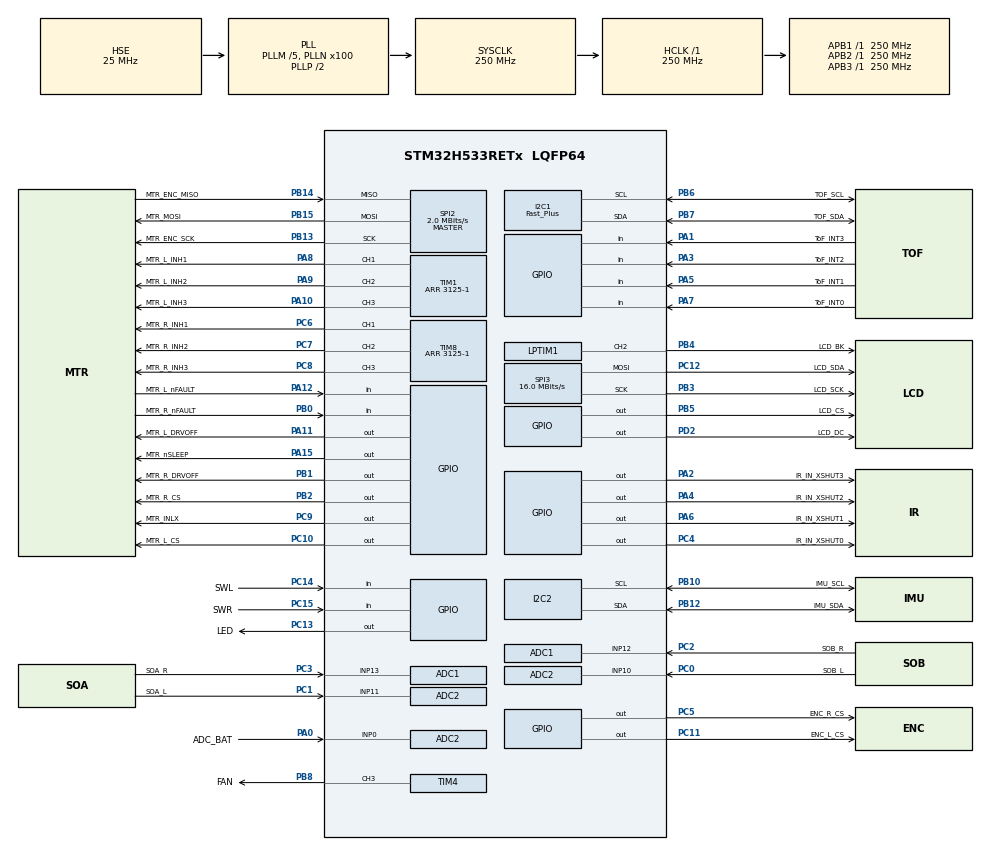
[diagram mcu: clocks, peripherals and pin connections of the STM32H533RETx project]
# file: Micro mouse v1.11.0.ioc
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ADC1.Channel-3\#ChannelRegularConversion=ADC_CHANNEL_0
ADC1.Channel-4\#ChannelRegularConversion=ADC_CHANNEL_13
ADC1.Channel-5\#ChannelRegularConversion=ADC_CHANNEL_12
ADC1.ClockPrescaler=ADC_CLOCK_ASYNC_DIV4
ADC1.DMAContinuousRequests=ENABLE
ADC1.EOCSelection=ADC_EOC_SEQ_CONV
ADC1.ExternalTrigConv=ADC_EXTERNALTRIG_T1_TRGO2
ADC1.MonitoredBy-3\#ChannelRegularConversion=__NULL
ADC1.MonitoredBy-4\#ChannelRegularConversion=__NULL
ADC1.MonitoredBy-5\#ChannelRegularConversion=__NULL
ADC1.NbrOfConversion=3
ADC1.NbrOfConversionFlag=1
ADC1.OffsetNumber-3\#ChannelRegularConversion=ADC_OFFSET_NONE
ADC1.OffsetNumber-4\#ChannelRegularConversion=ADC_OFFSET_NONE
ADC1.OffsetNumber-5\#ChannelRegularConversion=ADC_OFFSET_NONE
ADC1.Rank-3\#ChannelRegularConversion=1
ADC1.Rank-4\#ChannelRegularConversion=2
ADC1.Rank-5\#ChannelRegularConversion=3
ADC1.SamplingTime-3\#ChannelRegularConversion=ADC_SAMPLETIME_12CYCLES_5
ADC1.SamplingTime-4\#ChannelRegularConversion=ADC_SAMPLETIME_6CYCLES_5
ADC1.SamplingTime-5\#ChannelRegularConversion=ADC_SAMPLETIME_6CYCLES_5
ADC1.master=1
ADC2.Channel-0\#ChannelRegularConversion=ADC_CHANNEL_0
ADC2.Channel-1\#ChannelRegularConversion=ADC_CHANNEL_11
ADC2.Channel-2\#ChannelRegularConversion=ADC_CHANNEL_10
ADC2.ClockPrescaler=ADC_CLOCK_ASYNC_DIV4
ADC2.DMAContinuousRequests=ENABLE
ADC2.EOCSelection=ADC_EOC_SEQ_CONV
ADC2.MonitoredBy-0\#ChannelRegularConversion=__NULL
ADC2.MonitoredBy-1\#ChannelRegularConversion=__NULL
ADC2.MonitoredBy-2\#ChannelRegularConversion=__NULL
ADC2.NbrOfConversion=3
ADC2.NbrOfConversionFlag=1
ADC2.OffsetNumber-0\#ChannelRegularConversion=ADC_OFFSET_NONE
ADC2.OffsetNumber-1\#ChannelRegularConversion=ADC_OFFSET_NONE
ADC2.OffsetNumber-2\#ChannelRegularConversion=ADC_OFFSET_NONE
ADC2.Rank-0\#ChannelRegularConversion=1
ADC2.Rank-1\#ChannelRegularConversion=2
ADC2.Rank-2\#ChannelRegularConversion=3
ADC2.SamplingTime-0\#ChannelRegularConversion=ADC_SAMPLETIME_12CYCLES_5
ADC2.SamplingTime-1\#ChannelRegularConversion=ADC_SAMPLETIME_6CYCLES_5
ADC2.SamplingTime-2\#ChannelRegularConversion=ADC_SAMPLETIME_6CYCLES_5
BOOTPATH.BootPathName=LEGACY
BOOTPATH.UserSelectedBootPath=LEGACY
CORTEX_M33_NS.userName=CORTEX_M33
GPDMA1.CIRCULARMODE_GPDMACH0=ENABLE
GPDMA1.CIRCULARMODE_GPDMACH1=ENABLE
GPDMA1.DESTDATAWIDTH_GPDMACH0=DMA_DEST_DATAWIDTH_HALFWORD
GPDMA1.DESTDATAWIDTH_GPDMACH1=DMA_DEST_DATAWIDTH_HALFWORD
GPDMA1.DESTINC_GPDMACH0=DMA_DINC_INCREMENTED
GPDMA1.DESTINC_GPDMACH1=DMA_DINC_INCREMENTED
GPDMA1.IPHANDLE_GPDMACH0-SIMPLEREQUEST_GPDMACH0=__NULL
GPDMA1.IPHANDLE_GPDMACH1-SIMPLEREQUEST_GPDMACH1=__NULL
GPDMA1.REQUEST_GPDMACH0=GPDMA1_REQUEST_ADC1
GPDMA1.REQUEST_GPDMACH1=GPDMA1_REQUEST_ADC2
GPDMA1.SRCDATAWIDTH_GPDMACH0=DMA_SRC_DATAWIDTH_HALFWORD
GPDMA1.SRCDATAWIDTH_GPDMACH1=DMA_SRC_DATAWIDTH_HALFWORD
GPDMA1.TRANSFERALLOCATEDPORTDEST_GPDMACH1=DMA_DEST_ALLOCATED_PORT1
GPDMA1.TRANSFERALLOCATEDPORTSRC_GPDMACH1=DMA_SRC_ALLOCATED_PORT1
GPDMA2.DIRECTION_GPDMACH0=DMA_MEMORY_TO_PERIPH
GPDMA2.IPHANDLE_GPDMACH0-SIMPLEREQUEST_GPDMACH0=__NULL
GPDMA2.REQUEST_GPDMACH0=GPDMA2_REQUEST_SPI3_TX
GPDMA2.SRCINC_GPDMACH0=DMA_SINC_INCREMENTED
I2C1.I2C_Speed_Mode=I2C_Fast_Plus
I2C1.Timing=0x00C035A6
I2C2.Timing=0x60808CD3
LPTIM1.ClockPrescaler=LPTIM_PRESCALER_DIV32
LPTIM1.OCPolarity_2=LPTIM_OCPOLARITY_LOW
LPTIM1.Period=1000-1
Mcu.Family=STM32H5
Mcu.Name=STM32H533RETx
Mcu.Package=LQFP64
NVIC.ADC1_IRQn=true\:0\:0\:false\:false\:true\:true\:true\:true
NVIC.ADC2_IRQn=true\:0\:0\:false\:false\:true\:true\:true\:true
NVIC.GPDMA1_Channel0_IRQn=true\:0\:0\:false\:false\:true\:false\:true\:true
NVIC.GPDMA1_Channel1_IRQn=true\:5\:0\:true\:false\:true\:false\:true\:true
NVIC.GPDMA2_Channel0_IRQn=true\:0\:0\:false\:false\:true\:false\:true\:true
NVIC.LPTIM1_IRQn=true\:0\:0\:false\:false\:true\:true\:true\:true
NVIC.PriorityGroup=NVIC_PRIORITYGROUP_4
NVIC.SPI3_IRQn=true\:5\:0\:true\:false\:true\:true\:true\:true
NVIC.TIM12_IRQn=true\:0\:0\:false\:false\:true\:true\:true\:true
NVIC.TIM3_IRQn=true\:0\:0\:false\:false\:true\:true\:true\:true
NVIC.TIM4_IRQn=true\:0\:0\:false\:false\:true\:true\:true\:true
NVIC.TIM5_IRQn=true\:0\:0\:false\:false\:true\:true\:true\:true
NVIC.TIM6_IRQn=true\:0\:0\:false\:false\:true\:true\:true\:true
NVIC.TIM7_IRQn=true\:0\:0\:false\:false\:true\:true\:true\:true
PA0.GPIO_Label=ADC_BAT
PA0.Signal=ADCx_INP0
PA1.GPIO_Label=ToF_INT3
PA1.Signal=GPIO_Input
PA10.GPIO_Label=MTR_L_INH3
PA10.Signal=S_TIM1_CH3
PA11.GPIO_Label=MTR_L_DRVOFF
PA11.Signal=GPIO_Output
PA12.GPIO_Label=MTR_L_nFAULT
PA12.Signal=GPIO_Input
PA13(JTMS/SWDIO).Mode=Serial_Wire
PA13(JTMS/SWDIO).Signal=DEBUG_JTMS-SWDIO
PA14(JTCK/SWCLK).Mode=Serial_Wire
PA14(JTCK/SWCLK).Signal=DEBUG_JTCK-SWCLK
PA15(JTDI).GPIO_Label=MTR_nSLEEP
PA15(JTDI).Signal=GPIO_Output
PA2.GPIO_Label=IR_IN_XSHUT3
PA2.GPIO_PuPd=GPIO_PULLUP
PA2.Signal=GPIO_Output
PA3.GPIO_Label=ToF_INT2
PA3.Signal=GPIO_Input
PA4.GPIO_Label=IR_IN_XSHUT2
PA4.GPIO_PuPd=GPIO_PULLUP
PA4.Signal=GPIO_Output
PA5.GPIO_Label=ToF_INT1
PA5.Signal=GPIO_Input
PA6.GPIO_Label=IR_IN_XSHUT1
PA6.GPIO_PuPd=GPIO_PULLUP
PA6.Signal=GPIO_Output
PA7.GPIO_Label=ToF_INT0
PA7.Signal=GPIO_Input
PA8.GPIO_Label=MTR_L_INH1
PA8.Signal=S_TIM1_CH1
PA9.GPIO_Label=MTR_L_INH2
PA9.Signal=S_TIM1_CH2
PB0.GPIO_Label=MTR_R_nFAULT
PB0.Signal=GPIO_Input
PB1.GPIO_Label=MTR_R_DRVOFF
PB1.Signal=GPIO_Output
PB10.GPIO_Label=IMU_SCL
PB10.Mode=I2C
PB10.Signal=I2C2_SCL
PB12.GPIO_Label=IMU_SDA
PB12.Mode=I2C
PB12.Signal=I2C2_SDA
PB13.GPIO_Label=MTR_ENC_SCK
PB13.Mode=Full_Duplex_Master
PB13.Signal=SPI2_SCK
PB14.GPIO_Label=MTR_ENC_MISO
PB14.Mode=Full_Duplex_Master
PB14.Signal=SPI2_MISO
PB15.GPIO_Label=MTR_MOSI
PB15.Mode=Full_Duplex_Master
PB15.Signal=SPI2_MOSI
PB2.GPIO_Label=MTR_R_CS
PB2.GPIO_PuPd=GPIO_PULLUP
PB2.Signal=GPIO_Output
PB3(JTDO/TRACESWO).GPIO_Label=LCD_SCK
PB3(JTDO/TRACESWO).Mode=TX_Only_Simplex_Unidirect_Master
PB3(JTDO/TRACESWO).Signal=SPI3_SCK
PB4(NJTRST).GPIO_Label=LCD_BK
PB4(NJTRST).Signal=S_LPTIM1_CH2
PB5.GPIO_Label=LCD_CS
PB5.GPIO_PuPd=GPIO_PULLUP
PB5.Signal=GPIO_Output
PB6.GPIO_Label=TOF_SCL
PB6.Mode=I2C
PB6.Signal=I2C1_SCL
PB7.GPIO_Label=TOF_SDA
PB7.Mode=I2C
PB7.Signal=I2C1_SDA
PB8.GPIO_Label=FAN
PB8.Signal=S_TIM4_CH3
PC0.GPIO_Label=SOB_L
PC0.Signal=ADCx_INP10
PC1.GPIO_Label=SOA_L
PC1.Signal=ADCx_INP11
PC10.GPIO_Label=MTR_L_CS
PC10.GPIO_PuPd=GPIO_PULLUP
PC10.Signal=GPIO_Output
PC11.GPIO_Label=ENC_L_CS
PC11.GPIO_PuPd=GPIO_PULLUP
PC11.Signal=GPIO_Output
PC12.GPIO_Label=LCD_SDA
PC12.Mode=TX_Only_Simplex_Unidirect_Master
PC12.Signal=SPI3_MOSI
PC13.GPIO_Label=LED
PC13.Signal=GPIO_Output
PC14-OSC32_IN(OSC32_IN).GPIO_Label=SWL
PC14-OSC32_IN(OSC32_IN).GPIO_PuPd=GPIO_PULLUP
PC14-OSC32_IN(OSC32_IN).Signal=GPIO_Input
PC15-OSC32_OUT(OSC32_OUT).GPIO_Label=SWR
PC15-OSC32_OUT(OSC32_OUT).GPIO_PuPd=GPIO_PULLUP
PC15-OSC32_OUT(OSC32_OUT).Signal=GPIO_Input
PC2.GPIO_Label=SOB_R
PC2.Signal=ADCx_INP12
PC3.GPIO_Label=SOA_R
PC3.Signal=ADCx_INP13
PC4.GPIO_Label=IR_IN_XSHUT0
PC4.GPIO_PuPd=GPIO_PULLUP
PC4.Signal=GPIO_Output
PC5.GPIO_Label=ENC_R_CS
PC5.GPIO_PuPd=GPIO_PULLUP
PC5.Signal=GPIO_Output
PC6.GPIO_Label=MTR_R_INH1
PC6.Signal=S_TIM8_CH1
PC7.GPIO_Label=MTR_R_INH2
PC7.Signal=S_TIM8_CH2
PC8.GPIO_Label=MTR_R_INH3
PC8.Signal=S_TIM8_CH3
PC9.GPIO_Label=MTR_INLX
PC9.Signal=GPIO_Output
PD2.GPIO_Label=LCD_DC
PD2.GPIO_PuPd=GPIO_PULLUP
PD2.Signal=GPIO_Output
PH0-OSC_IN(PH0).Mode=HSE-External-Oscillator
PH0-OSC_IN(PH0).Signal=RCC_OSC_IN
PH1-OSC_OUT(PH1).Mode=HSE-External-Oscillator
PH1-OSC_OUT(PH1).Signal=RCC_OSC_OUT
ProjectManager.HeapSize=0x200
ProjectManager.StackSize=0x400
ProjectManager.TargetToolchain=STM32CubeIDE
RCC.ADCCLockSelection=RCC_ADCDACCLKSOURCE_PLL2R
RCC.ADCFreq_Value=64000000
RCC.AHBFreq_Value=250000000
RCC.APB1Freq_Value=250000000
RCC.APB1TimFreq_Value=250000000
RCC.APB2Freq_Value=250000000
RCC.APB2TimFreq_Value=250000000
RCC.APB3Freq_Value=250000000
RCC.CSI_VALUE=4000000
RCC.CortexFreq_Value=250000000
RCC.EPOD_VALUE=25000000
RCC.HCLKFreq_Value=250000000
RCC.HSE_VALUE=25000000
RCC.HSI48_VALUE=48000000
RCC.HSI_VALUE=64000000
RCC.LPTIM1CLockSelection=RCC_LPTIM1CLKSOURCE_CLKP
RCC.LSE_VALUE=32768
RCC.LSIRC_VALUE=32000
RCC.PLL1Q=5
RCC.PLL2FRACN=0
RCC.PLL2N=128
RCC.PLL2R=8
RCC.PLL3FRACN=0
RCC.PLLFRACN=0
RCC.PLLM=5
RCC.PLLN=100
RCC.PLLSourceVirtual=RCC_PLL1_SOURCE_HSE
RCC.SPI2CLockSelection=RCC_SPI2CLKSOURCE_CLKP
RCC.SPI3CLockSelection=RCC_SPI3CLKSOURCE_CLKP
RCC.SYSCLKFreq_VALUE=250000000
RCC.SYSCLKSource=RCC_SYSCLKSOURCE_PLLCLK
RCC.USBFreq_Value=48000000
RCC.VCOOutputFreq_Value=500000000
SH.ADCx_INP0.0=ADC2_INP0,IN0-Single-Ended
SH.ADCx_INP0.1=ADC1_INP0,IN0-Single-Ended
SH.ADCx_INP10.0=ADC2_INP10,IN10-Single-Ended
SH.ADCx_INP11.0=ADC2_INP11,IN11-Single-Ended
SH.ADCx_INP12.0=ADC1_INP12,IN12-Single-Ended
SH.ADCx_INP13.0=ADC1_INP13,IN13-Single-Ended
SH.S_LPTIM1_CH2.0=LPTIM1_CH2,OutputIO_CH2
SH.S_TIM1_CH1.0=TIM1_CH1,PWM Generation1 CH1
SH.S_TIM1_CH2.0=TIM1_CH2,PWM Generation2 CH2
SH.S_TIM1_CH3.0=TIM1_CH3,PWM Generation3 CH3
SH.S_TIM4_CH3.0=TIM4_CH3,PWM Generation3 CH3
SH.S_TIM8_CH1.0=TIM8_CH1,PWM Generation1 CH1
SH.S_TIM8_CH2.0=TIM8_CH2,PWM Generation2 CH2
SH.S_TIM8_CH3.0=TIM8_CH3,PWM Generation3 CH3
SPI2.BaudRatePrescaler=SPI_BAUDRATEPRESCALER_16
SPI2.CLKPhase=SPI_PHASE_2EDGE
SPI2.CLKPolarity=SPI_POLARITY_LOW
SPI2.CalculateBaudRate=2.0 MBits/s
SPI2.DataSize=SPI_DATASIZE_8BIT
SPI2.Direction=SPI_DIRECTION_2LINES
SPI2.Mode=SPI_MODE_MASTER
SPI2.VirtualType=VM_MASTER
SPI3.BaudRatePrescaler=SPI_BAUDRATEPRESCALER_2
SPI3.CalculateBaudRate=16.0 MBits/s
SPI3.DataSize=SPI_DATASIZE_8BIT
SPI3.Direction=SPI_DIRECTION_2LINES_TXONLY
SPI3.Mode=SPI_MODE_MASTER
SPI3.VirtualType=VM_MASTER
TIM1.AutoReloadPreload=TIM_AUTORELOAD_PRELOAD_ENABLE
TIM1.Channel-PWM\ Generation1\ CH1=TIM_CHANNEL_1
TIM1.Channel-PWM\ Generation2\ CH2=TIM_CHANNEL_2
TIM1.Channel-PWM\ Generation3\ CH3=TIM_CHANNEL_3
TIM1.CounterMode=TIM_COUNTERMODE_CENTERALIGNED1
TIM1.PeriodNoDither=3125-1
TIM1.RepetitionCounter=1
TIM1.TIM_MasterOutputTrigger=TIM_TRGO_ENABLE
TIM1.TIM_MasterOutputTrigger2=TIM_TRGO2_UPDATE
TIM1.TIM_MasterSlaveMode=TIM_MASTERSLAVEMODE_ENABLE
TIM15.AutoReloadPreload=TIM_AUTORELOAD_PRELOAD_ENABLE
TIM15.Channel-PWM\ Generation1\ No\ Output=TIM_CHANNEL_1
TIM15.PeriodNoDither=1000-1
TIM15.Prescaler=250-1
TIM15.PulseNoDither_1=30-1
TIM15.TIM_MasterOutputTrigger=TIM_TRGO_OC1REF
TIM3.PeriodNoDither=50-1
TIM3.Prescaler=250-1
TIM4.Channel-PWM\ Generation3\ CH3=TIM_CHANNEL_3
TIM6.PeriodNoDither=1000-1
TIM6.Prescaler=250-1
TIM7.PeriodNoDither=500-1
TIM7.Prescaler=250-1
TIM8.AutoReloadPreload=TIM_AUTORELOAD_PRELOAD_ENABLE
TIM8.Channel-PWM\ Generation1\ CH1=TIM_CHANNEL_1
TIM8.Channel-PWM\ Generation2\ CH2=TIM_CHANNEL_2
TIM8.Channel-PWM\ Generation3\ CH3=TIM_CHANNEL_3
TIM8.CounterMode=TIM_COUNTERMODE_CENTERALIGNED1
TIM8.PeriodNoDither=3125-1
TIM8.RepetitionCounter=1
TIM8.TIM_MasterOutputTrigger2=TIM_TRGO2_UPDATE
VP_BOOTPATH_VS_BOOTPATH.Mode=BP_Activate
VP_CORTEX_M33_NS_VS_Hclk.Mode=Hclk_Mode
VP_FLASH_SIG_Activate_FlashIP.Mode=Activate_FlashIP
VP_GPDMA1_VS_GPDMACH0.Mode=SIMPLEREQUEST_GPDMACH0
VP_GPDMA1_VS_GPDMACH1.Mode=SIMPLEREQUEST_GPDMACH1
VP_GPDMA2_VS_GPDMACH0.Mode=SIMPLEREQUEST_GPDMACH0
VP_ICACHE_VS_ENABLE_ICACHE_MEMORY.Mode=Memoryregions
VP_ICACHE_VS_ICACHE.Mode=DefaultMode
VP_LPTIM1_VS_CH2.Mode=Channel_2_Active
VP_LPTIM1_VS_LPTIM_counterModeInternalClock.Mode=Counts__internal_clock_event_00
VP_MEMORYMAP_VS_MEMORYMAP.Mode=CurAppReg
VP_PWR_VS_LPOM.Mode=PowerOptimisation
VP_PWR_VS_SECSignals.Mode=Security/Privilege
VP_TIM12_VS_ClockSourceINT.Mode=Internal
VP_TIM15_VS_ClockSourceINT.Mode=Internal
VP_TIM15_VS_no_output1.Mode=PWM Generation1 No Output
VP_TIM1_VS_ClockSourceINT.Mode=Internal
VP_TIM2_VS_ClockSourceINT.Mode=Internal
VP_TIM3_VS_ClockSourceINT.Mode=Internal
VP_TIM5_VS_ClockSourceINT.Mode=Internal
VP_TIM6_VS_ClockSourceINT.Mode=Enable_Timer
VP_TIM6_VS_OPM.Mode=OPM_bit
VP_TIM7_VS_ClockSourceINT.Mode=Enable_Timer
VP_TIM7_VS_OPM.Mode=OPM_bit
VP_TIM8_VS_ClockSourceINT.Mode=Internal
VP_TIM8_VS_ClockSourceITR.Mode=TriggerSource_ITR0
VP_TIM8_VS_ControllerModeTrigger.Mode=Trigger Mode
board=custom

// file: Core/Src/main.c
/* USER CODE BEGIN Header */
/**
 ******************************************************************************
 * @file           : main.c
 * @brief          : Main program body
 ******************************************************************************
 * @attention
 *
 * Copyright (c) 2026 STMicroelectronics.
 * All rights reserved.
 *
 * This software is licensed under terms that can be found in the LICENSE file
 * in the root directory of this software component.
 * If no LICENSE file comes with this software, it is provided AS-IS.
 *
 ******************************************************************************
 */
/* USER CODE END Header */
#include "main.h"
#include "adc.h"
#include "flash.h"
#include "gpdma.h"
#include "i2c.h"
#include "icache.h"
#include "lptim.h"
#include "spi.h"
#include "tim.h"
#include "gpio.h"

/* USER CODE BEGIN Includes */
#include "init.h"
#include "menu.h"
#include "error.h"
#include "sensor.h"
#include "vl53l4cx.h"
#include "motor.h"
#include "drive.h"
/* USER CODE END Includes */

void SystemClock_Config(void);
void PeriphCommonClock_Config(void);

/* USER CODE BEGIN 0 */
void delay_us(uint32_t us) {
	// 현재 사이클 카운트 저장
	uint32_t startTick = DWT->CYCCNT;

	// 필요한 사이클 수 계산 (us * (HCLK / 1,000,000))
	// SystemCoreClock은 현재 MCU의 주파수(Hz)를 담고 있습니다.
	uint32_t delayTicks = us * (SystemCoreClock / 1000000);

	// 목표 사이클에 도달할 때까지 대기
	while ((DWT->CYCCNT - startTick) < delayTicks)
		;
}
/* USER CODE END 0 */

int main(void)
{

  /* MCU Configuration--------------------------------------------------------*/

  /* Reset of all peripherals, Initializes the Flash interface and the Systick. */
  HAL_Init();

  /* Configure the system clock */
  SystemClock_Config();

  /* Configure the peripherals common clocks */
  PeriphCommonClock_Config();

  /* Initialize all configured peripherals */
  MX_GPIO_Init();
  MX_GPDMA1_Init();
  MX_GPDMA2_Init();
  MX_ADC1_Init();
  MX_ADC2_Init();
  MX_I2C1_Init();
  MX_I2C2_Init();
  MX_LPTIM1_Init();
  MX_SPI2_Init();
  MX_SPI3_Init();
  MX_TIM1_Init();
  MX_TIM8_Init();
  MX_FLASH_Init();
  MX_TIM4_Init();
  MX_TIM2_Init();
  MX_TIM3_Init();
  MX_TIM5_Init();
  MX_TIM6_Init();
  MX_TIM7_Init();
  MX_TIM12_Init();
  MX_TIM15_Init();
  MX_ICACHE_Init();
  /* USER CODE BEGIN 2 */
	TRIG_ON;

	MX_User_Init();
	LCD_Printf(0, 0, ST7789_WHITE, ST7789_BLACK, "Hello world!");
	HAL_Delay(1000);
	ST7789_FillScreen(ST7789_BLACK);
	HAL_GPIO_WritePin(MTR_L_DRVOFF_GPIO_Port, MTR_L_DRVOFF_Pin, GPIO_PIN_RESET);
	HAL_GPIO_WritePin(MTR_R_DRVOFF_GPIO_Port, MTR_R_DRVOFF_Pin, GPIO_PIN_RESET);
	HAL_Delay(10);
	TRIG_OFF;

	ADC2_Start();
	ADC1_Start();
	FOC_Start(&focR);
	FOC_Start(&focL);
  /* USER CODE END 2 */

  /* Infinite loop */
  /* USER CODE BEGIN WHILE */
//		LCD_Printf(0, 0, ST7789_WHITE, ST7789_BLACK, "%f", 0.1f);
//		LCD_Printf(0, 4, ST7789_WHITE, ST7789_BLACK, "%d", 1);

	while (1) {
		LCD_Printf(0, 0, ST7789_WHITE, ST7789_BLACK, "%f", focL.encoder->motor_elec_angle);
		LCD_Printf(0, 1, ST7789_WHITE, ST7789_BLACK, "%f", focR.encoder->motor_elec_angle);
//		HAL_Delay(100);
//		TRIG_TOGGLE;
	}
    /* USER CODE END WHILE */

}

void SystemClock_Config(void)
{
  RCC_OscInitTypeDef RCC_OscInitStruct = {0};
  RCC_ClkInitTypeDef RCC_ClkInitStruct = {0};

  /** Configure the main internal regulator output voltage
  */
  __HAL_PWR_VOLTAGESCALING_CONFIG(PWR_REGULATOR_VOLTAGE_SCALE0);

  while(!__HAL_PWR_GET_FLAG(PWR_FLAG_VOSRDY)) {}

  /** Initializes the RCC Oscillators according to the specified parameters
  * in the RCC_OscInitTypeDef structure.
  */
  RCC_OscInitStruct.OscillatorType = RCC_OSCILLATORTYPE_HSI|RCC_OSCILLATORTYPE_HSE
                              |RCC_OSCILLATORTYPE_CSI;
  RCC_OscInitStruct.HSEState = RCC_HSE_ON;
  RCC_OscInitStruct.HSIState = RCC_HSI_ON;
  RCC_OscInitStruct.HSIDiv = RCC_HSI_DIV2;
  RCC_OscInitStruct.HSICalibrationValue = RCC_HSICALIBRATION_DEFAULT;
  RCC_OscInitStruct.CSIState = RCC_CSI_ON;
  RCC_OscInitStruct.CSICalibrationValue = RCC_CSICALIBRATION_DEFAULT;
  RCC_OscInitStruct.PLL.PLLState = RCC_PLL_ON;
  RCC_OscInitStruct.PLL.PLLSource = RCC_PLL1_SOURCE_HSE;
  RCC_OscInitStruct.PLL.PLLM = 5;
  RCC_OscInitStruct.PLL.PLLN = 100;
  RCC_OscInitStruct.PLL.PLLP = 2;
  RCC_OscInitStruct.PLL.PLLQ = 5;
  RCC_OscInitStruct.PLL.PLLR = 2;
  RCC_OscInitStruct.PLL.PLLRGE = RCC_PLL1_VCIRANGE_2;
  RCC_OscInitStruct.PLL.PLLVCOSEL = RCC_PLL1_VCORANGE_WIDE;
  RCC_OscInitStruct.PLL.PLLFRACN = 0;
  if (HAL_RCC_OscConfig(&RCC_OscInitStruct) != HAL_OK)
  {
    Error_Handler();
  }

  /** Initializes the CPU, AHB and APB buses clocks
  */
  RCC_ClkInitStruct.ClockType = RCC_CLOCKTYPE_HCLK|RCC_CLOCKTYPE_SYSCLK
                              |RCC_CLOCKTYPE_PCLK1|RCC_CLOCKTYPE_PCLK2
                              |RCC_CLOCKTYPE_PCLK3;
  RCC_ClkInitStruct.SYSCLKSource = RCC_SYSCLKSOURCE_PLLCLK;
  RCC_ClkInitStruct.AHBCLKDivider = RCC_SYSCLK_DIV1;
  RCC_ClkInitStruct.APB1CLKDivider = RCC_HCLK_DIV1;
  RCC_ClkInitStruct.APB2CLKDivider = RCC_HCLK_DIV1;
  RCC_ClkInitStruct.APB3CLKDivider = RCC_HCLK_DIV1;

  if (HAL_RCC_ClockConfig(&RCC_ClkInitStruct, FLASH_LATENCY_5) != HAL_OK)
  {
    Error_Handler();
  }

  /** Configure the programming delay
  */
  __HAL_FLASH_SET_PROGRAM_DELAY(FLASH_PROGRAMMING_DELAY_2);
}

void PeriphCommonClock_Config(void)
{
  RCC_PeriphCLKInitTypeDef PeriphClkInitStruct = {0};

  /** Initializes the peripherals clock
  */
  PeriphClkInitStruct.PeriphClockSelection = RCC_PERIPHCLK_CKPER|RCC_PERIPHCLK_ADCDAC;
  PeriphClkInitStruct.PLL2.PLL2Source = RCC_PLL2_SOURCE_CSI;
  PeriphClkInitStruct.PLL2.PLL2M = 1;
  PeriphClkInitStruct.PLL2.PLL2N = 128;
  PeriphClkInitStruct.PLL2.PLL2P = 2;
  PeriphClkInitStruct.PLL2.PLL2Q = 2;
  PeriphClkInitStruct.PLL2.PLL2R = 8;
  PeriphClkInitStruct.PLL2.PLL2RGE = RCC_PLL2_VCIRANGE_2;
  PeriphClkInitStruct.PLL2.PLL2VCOSEL = RCC_PLL2_VCORANGE_WIDE;
  PeriphClkInitStruct.PLL2.PLL2FRACN = 0;
  PeriphClkInitStruct.PLL2.PLL2ClockOut = RCC_PLL2_DIVR;
  PeriphClkInitStruct.CkperClockSelection = RCC_CLKPSOURCE_HSI;
  PeriphClkInitStruct.AdcDacClockSelection = RCC_ADCDACCLKSOURCE_PLL2R;
  if (HAL_RCCEx_PeriphCLKConfig(&PeriphClkInitStruct) != HAL_OK)
  {
    Error_Handler();
  }
}

void Error_Handler(void)
{
  /* USER CODE BEGIN Error_Handler_Debug */
	/* User can add his own implementation to report the HAL error return state */
//	__disable_irq();
	ST7789_FillScreen(ST7789_RED);
	LCD_Printf(0, 0, ST7789_BLACK, ST7789_RED, error_log);

	while (1) {
		TRIG_TOGGLE;
		HAL_Delay(500);
	}
  /* USER CODE END Error_Handler_Debug */
}
